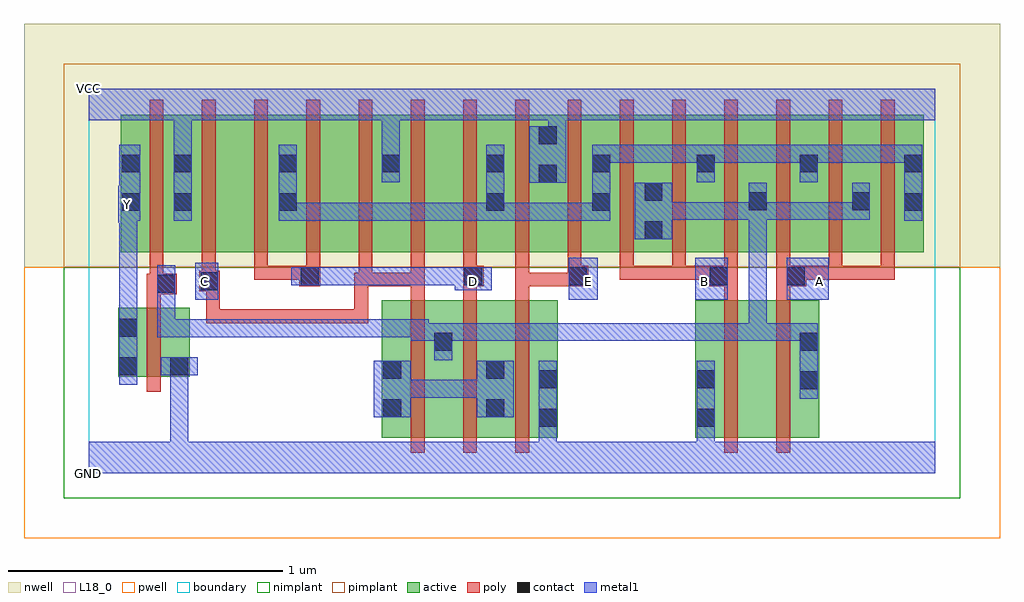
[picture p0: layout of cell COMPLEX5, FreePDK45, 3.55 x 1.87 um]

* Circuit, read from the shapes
.subckt COMPLEX5 A B C D E GND VCC Y
M1 GND n1 Y VSUBS nfet w=0.25u l=0.05u
M2 n1 C n2 VSUBS nfet w=0.5u l=0.05u
M3 n2 D n1 VSUBS nfet w=0.5u l=0.05u
M4 GND E n2 VSUBS nfet w=0.5u l=0.05u
M5 n3 B GND VSUBS nfet w=0.5u l=0.05u
M6 n1 A n3 VSUBS nfet w=0.5u l=0.05u
M7 VCC n1 Y n4 pfet w=0.5u l=0.05u
M8 n5 C VCC n4 pfet w=0.5u l=0.05u
M9 n6 D n5 n4 pfet w=0.5u l=0.05u
M10 n7 D n6 n4 pfet w=0.5u l=0.05u
M11 VCC C n7 n4 pfet w=0.5u l=0.05u
M12 n8 C VCC n4 pfet w=0.5u l=0.05u
M13 n6 D n8 n4 pfet w=0.5u l=0.05u
M14 VCC E n6 n4 pfet w=0.5u l=0.05u m=2
M15 n1 B n6 n4 pfet w=0.5u l=0.05u m=3
M16 n6 A n1 n4 pfet w=0.5u l=0.05u m=3
.ends

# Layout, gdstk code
import gdstk
lib = gdstk.Library(unit=1e-6, precision=1e-09)
def R(c, l, rs):  # rectangles x0, y0, x1, y1
    for r in rs: c.add(gdstk.rectangle(r[:2], r[2:], *l))
def A(c, l, x, y, w, h, nx, ny, dx, dy):  # array of equal rectangles
    R(c, l, [(x+i*dx, y+j*dy, x+i*dx+w, y+j*dy+h) for i in range(nx) for j in range(ny)])
active = (1, 0)
pwell = (2, 0)
nwell = (3, 0)
nimplant = (4, 0)
pimplant = (5, 0)
poly = (9, 0)
contact = (10, 0)
metal1 = (11, 0)
L18_0 = (18, 0)
boundary = (235, 0)

complex5 = lib.new_cell('COMPLEX5')
A(complex5, active, 1.827, 0.805, 0.265, 0.5, 3, 1, 0.19, 0)
R(complex5, active, [(1.067,0.13,1.327,0.63), (1.252,0.13,1.517,0.63), (1.442,0.13,1.707,0.63), (1.632,0.13,1.707,0.63), (2.207,0.13,2.432,0.63), (2.207,0.13,2.282,0.592), (2.432,0.13,2.657,0.63), (1.067,0.195,1.142,0.63), (1.252,0.195,1.327,0.592), (1.442,0.195,1.517,0.592), (2.582,0.195,2.657,0.63), (0.107,0.352,0.182,0.602), (0.107,0.352,0.367,0.602), (0.292,0.352,0.367,0.602), (0.117,0.805,0.192,1.2), (0.117,0.805,0.38,1.305), (0.305,0.805,0.532,1.305), (0.532,0.805,0.762,1.305), (0.687,0.805,0.912,1.305), (0.912,0.805,1.137,1.305), (1.062,0.805,1.292,1.305), (1.292,0.805,1.517,1.305), (1.442,0.805,1.707,1.305), (1.632,0.805,1.902,1.305), (2.017,0.805,2.092,1.07), (2.397,0.805,2.657,1.305), (2.582,0.805,2.847,1.305), (2.772,0.805,3.037,1.305), (2.962,0.805,3.037,1.2), (0.305,0.807,0.38,1.305), (0.687,0.807,0.762,1.2), (1.062,0.807,1.137,1.305), (1.442,0.807,1.517,1.2), (1.632,0.807,1.707,1.305), (1.827,0.807,1.902,1.2), (2.207,0.807,2.282,1.2), (2.397,0.807,2.472,1.07), (2.582,0.807,2.657,1.2), (2.772,0.807,2.847,1.07)])
R(complex5, pwell, [(-0.235,-0.235,3.315,0.75)])
R(complex5, nwell, [(-0.235,0.75,3.315,1.635)])
R(complex5, nimplant, [(-0.09,-0.09,3.17,0.75)])
R(complex5, pimplant, [(-0.09,0.75,3.17,1.49)])
A(complex5, poly, 1.172, 0.075, 0.05, 0.61, 3, 1, 0.19, 0)
A(complex5, poly, 1.172, 0.635, 0.05, 0.095, 3, 1, 0.19, 0)
A(complex5, poly, 1.742, 0.705, 0.05, 0.095, 7, 1, 0.19, 0)
A(complex5, poly, 0.222, 0.75, 0.05, 0.61, 15, 1, 0.19, 0)
R(complex5, poly, [(2.312,0.075,2.362,0.685), (2.502,0.075,2.552,0.685), (0.212,0.297,0.262,0.657), (0.427,0.547,0.477,0.597), (0.427,0.547,0.477,0.597), (0.427,0.547,0.477,0.597), (0.427,0.547,0.477,0.597), (0.427,0.547,0.477,0.597), (0.427,0.547,0.67,0.597), (0.427,0.547,0.477,0.712), (0.62,0.547,0.67,0.597), (0.62,0.547,0.67,0.597), (0.62,0.547,0.67,0.597), (0.62,0.547,0.885,0.597), (0.835,0.547,0.885,0.597), (0.835,0.547,1.017,0.597), (0.967,0.547,1.017,0.597), (0.967,0.547,1.017,0.597), (0.967,0.547,1.017,0.597), (0.967,0.547,1.017,0.597), (0.967,0.547,1.017,0.597), (0.967,0.547,1.017,0.73), (0.212,0.607,0.262,0.702), (2.312,0.635,2.362,0.73), (2.502,0.635,2.552,0.73), (0.212,0.652,0.32,0.727), (0.402,0.662,0.477,0.737), (0.222,0.677,0.272,0.8), (0.767,0.68,0.842,0.755), (0.967,0.68,1.032,0.73), (0.982,0.68,1.222,0.73), (0.982,0.68,1.032,0.8), (1.172,0.68,1.222,0.73), (1.172,0.68,1.222,0.73), (1.172,0.68,1.222,0.73), (1.172,0.68,1.222,0.8), (1.362,0.68,1.437,0.755), (1.552,0.68,1.602,0.73), (1.552,0.68,1.602,0.73), (1.552,0.68,1.602,0.73), (1.552,0.68,1.792,0.73), (1.552,0.68,1.602,0.8), (1.742,0.68,1.817,0.755), (2.255,0.68,2.362,0.755), (2.502,0.68,2.61,0.755), (0.412,0.687,0.462,0.8), (0.602,0.705,0.652,0.8), (0.602,0.705,0.652,0.755), (0.602,0.705,0.817,0.755), (0.767,0.705,0.817,0.755), (0.767,0.705,0.817,0.755), (0.792,0.705,0.842,0.8), (1.362,0.705,1.412,0.8), (1.932,0.705,1.982,0.755), (1.932,0.705,1.982,0.755), (1.932,0.705,1.982,0.755), (1.932,0.705,2.172,0.755), (2.122,0.705,2.172,0.755), (2.122,0.705,2.172,0.755), (2.122,0.705,2.172,0.755), (2.122,0.705,2.305,0.755), (2.56,0.705,2.742,0.755), (2.692,0.705,2.742,0.755), (2.692,0.705,2.742,0.755), (2.692,0.705,2.742,0.755), (2.692,0.705,2.932,0.755), (2.882,0.705,2.932,0.755), (2.882,0.705,2.932,0.755), (2.882,0.705,2.932,0.755)])
R(complex5, contact, [(1.637,0.17,1.702,0.235), (2.212,0.17,2.277,0.235), (1.072,0.205,1.137,0.27), (1.447,0.205,1.512,0.27), (2.587,0.307,2.652,0.372), (1.637,0.31,1.702,0.375), (2.212,0.31,2.277,0.375), (1.072,0.345,1.137,0.41), (1.447,0.345,1.512,0.41), (0.112,0.357,0.177,0.422), (0.297,0.357,0.362,0.422), (1.257,0.447,1.322,0.512), (2.587,0.447,2.652,0.512), (0.112,0.497,0.177,0.562), (0.25,0.657,0.315,0.722), (0.407,0.667,0.472,0.732), (0.772,0.685,0.837,0.75), (1.367,0.685,1.432,0.75), (1.747,0.685,1.812,0.75), (2.26,0.685,2.325,0.75), (2.54,0.685,2.605,0.75), (2.022,0.852,2.087,0.917), (0.122,0.955,0.187,1.02), (0.31,0.955,0.375,1.02), (0.692,0.955,0.757,1.02), (1.447,0.955,1.512,1.02), (1.832,0.955,1.897,1.02), (2.967,0.955,3.032,1.02), (2.402,0.957,2.467,1.022), (2.777,0.957,2.842,1.022), (2.022,0.992,2.087,1.057), (1.637,1.057,1.702,1.122), (0.122,1.095,0.187,1.16), (0.31,1.095,0.375,1.16), (0.692,1.095,0.757,1.16), (1.067,1.095,1.132,1.16), (1.447,1.095,1.512,1.16), (1.832,1.095,1.897,1.16), (2.212,1.095,2.277,1.16), (2.587,1.095,2.652,1.16), (2.967,1.095,3.032,1.16), (1.637,1.197,1.702,1.262)])
R(complex5, metal1, [(0,0,3.08,0.115), (0.297,0.05,0.362,0.115), (0.297,0.05,0.362,0.115), (0.297,0.05,0.362,0.115), (0.297,0.05,0.362,0.115), (0.297,0.05,0.362,0.115), (0.297,0.05,0.362,0.115), (0.297,0.05,0.362,0.422), (1.637,0.05,1.702,0.115), (1.637,0.05,1.702,0.115), (1.637,0.05,1.702,0.2), (2.212,0.05,2.277,0.115), (2.212,0.05,2.277,0.115), (2.212,0.05,2.277,0.2), (1.637,0.135,1.702,0.41), (2.212,0.135,2.277,0.41), (1.037,0.205,1.172,0.41), (1.412,0.205,1.547,0.41), (2.587,0.272,2.652,0.547), (1.107,0.275,1.172,0.34), (1.107,0.275,1.172,0.34), (1.107,0.275,1.34,0.34), (1.275,0.275,1.34,0.34), (1.275,0.275,1.375,0.34), (1.31,0.275,1.375,0.34), (1.31,0.275,1.477,0.34), (0.112,0.322,0.177,0.597), (0.262,0.357,0.397,0.422), (1.257,0.412,1.322,0.547), (1.172,0.482,1.322,0.547), (1.172,0.482,1.237,0.56), (1.257,0.482,1.375,0.547), (1.31,0.482,1.375,0.547), (1.31,0.482,1.512,0.547), (1.447,0.482,1.512,0.547), (1.447,0.482,1.512,0.547), (1.447,0.482,1.512,0.547), (1.447,0.482,1.65,0.547), (1.585,0.482,1.65,0.547), (1.585,0.482,1.65,0.547), (1.585,0.482,1.65,0.547), (1.585,0.482,1.84,0.547), (1.775,0.482,1.84,0.547), (1.775,0.482,1.84,0.547), (1.775,0.482,1.84,0.547), (1.775,0.482,2.097,0.547), (2.032,0.482,2.097,0.547), (2.032,0.482,2.097,0.547), (2.032,0.482,2.097,0.547), (2.032,0.482,2.33,0.547), (2.265,0.482,2.33,0.547), (2.265,0.482,2.33,0.547), (2.265,0.482,2.33,0.547), (2.265,0.482,2.467,0.547), (2.402,0.482,2.467,0.547), (2.402,0.482,2.467,0.547), (2.402,0.482,2.467,0.547), (2.402,0.482,2.652,0.547), (2.402,0.482,2.467,0.987), (2.587,0.482,2.652,0.547), (2.587,0.482,2.652,0.547), (0.25,0.495,0.315,0.56), (0.25,0.495,0.482,0.56), (0.25,0.495,0.315,0.687), (0.417,0.495,0.482,0.56), (0.417,0.495,0.482,0.56), (0.417,0.495,0.482,0.56), (0.417,0.495,0.62,0.56), (0.555,0.495,0.62,0.56), (0.555,0.495,0.62,0.56), (0.555,0.495,0.62,0.56), (0.555,0.495,0.897,0.56), (0.832,0.495,0.897,0.56), (0.832,0.495,0.897,0.56), (0.832,0.495,0.897,0.56), (0.832,0.495,1.035,0.56), (0.97,0.495,1.035,0.56), (0.97,0.495,1.035,0.56), (0.97,0.495,1.035,0.56), (0.97,0.495,1.237,0.56), (0.112,0.532,0.177,0.977), (0.25,0.622,0.315,0.687), (0.25,0.622,0.315,0.687), (0.25,0.622,0.315,0.757), (0.387,0.632,0.472,0.767), (1.747,0.632,1.852,0.785), (2.207,0.632,2.325,0.785), (2.54,0.632,2.692,0.785), (1.332,0.667,1.467,0.75), (0.737,0.685,0.872,0.75), (0.807,0.685,0.895,0.75), (0.83,0.685,0.895,0.75), (0.83,0.685,1.035,0.75), (0.97,0.685,1.035,0.75), (0.97,0.685,1.035,0.75), (0.97,0.685,1.035,0.75), (0.97,0.685,1.237,0.75), (1.172,0.685,1.237,0.75), (1.172,0.685,1.34,0.75), (1.275,0.685,1.34,0.75), (1.275,0.685,1.397,0.75), (1.987,0.852,2.122,1.057), (0.107,0.912,0.177,1.047), (0.112,0.92,0.177,0.985), (0.112,0.92,0.187,1.195), (0.31,0.92,0.375,1.195), (0.692,0.92,0.757,0.985), (0.692,0.92,0.757,0.985), (0.692,0.92,0.757,1.195), (0.692,0.92,0.897,0.985), (0.832,0.92,0.897,0.985), (0.832,0.92,1.035,0.985), (0.97,0.92,1.035,0.985), (0.97,0.92,1.035,0.985), (0.97,0.92,1.035,0.985), (0.97,0.92,1.237,0.985), (1.172,0.92,1.237,0.985), (1.172,0.92,1.31,0.985), (1.245,0.92,1.31,0.985), (1.245,0.92,1.375,0.985), (1.31,0.92,1.375,0.985), (1.31,0.92,1.512,0.985), (1.447,0.92,1.512,0.985), (1.447,0.92,1.512,0.985), (1.447,0.92,1.512,1.195), (1.447,0.92,1.65,0.985), (1.585,0.92,1.65,0.985), (1.585,0.92,1.65,0.985), (1.585,0.92,1.65,0.985), (1.585,0.92,1.897,0.985), (1.832,0.92,1.897,1.195), (2.967,0.92,3.032,1.195), (2.057,0.922,2.122,0.987), (2.057,0.922,2.122,0.987), (2.057,0.922,2.29,0.987), (2.225,0.922,2.29,0.987), (2.225,0.922,2.29,0.987), (2.225,0.922,2.29,0.987), (2.225,0.922,2.467,0.987), (2.402,0.922,2.467,0.987), (2.402,0.922,2.467,0.987), (2.402,0.922,2.467,1.057), (2.402,0.922,2.705,0.987), (2.64,0.922,2.705,0.987), (2.64,0.922,2.842,0.987), (2.777,0.922,2.842,0.987), (2.777,0.922,2.842,0.987), (2.777,0.922,2.842,1.057), (1.602,1.057,1.737,1.262), (1.067,1.06,1.132,1.195), (2.212,1.06,2.277,1.195), (2.587,1.06,2.652,1.195), (0.31,1.13,0.375,1.35), (1.067,1.13,1.132,1.35), (1.832,1.13,1.897,1.195), (1.832,1.13,1.897,1.195), (1.832,1.13,1.897,1.195), (1.832,1.13,1.897,1.195), (1.832,1.13,2.037,1.195), (1.972,1.13,2.037,1.195), (1.972,1.13,2.037,1.195), (1.972,1.13,2.037,1.195), (1.972,1.13,2.277,1.195), (2.212,1.13,2.277,1.195), (2.212,1.13,2.277,1.195), (2.212,1.13,2.515,1.195), (2.45,1.13,2.515,1.195), (2.45,1.13,2.515,1.195), (2.45,1.13,2.515,1.195), (2.45,1.13,2.652,1.195), (2.587,1.13,2.842,1.195), (2.777,1.13,2.842,1.195), (2.777,1.13,2.842,1.195), (2.777,1.13,2.842,1.195), (2.777,1.13,3.032,1.195), (2.967,1.13,3.032,1.195), (2.967,1.13,3.032,1.195), (1.672,1.197,1.737,1.35), (0,1.285,3.08,1.4)])
A(complex5, L18_0, 1.367, 0.667, 0.065, 0.065, 4, 1, 0.42, 0)
R(complex5, L18_0, [(0,0,3.08,0.115), (0.297,0.05,0.362,0.115), (0.297,0.05,0.362,0.115), (0.297,0.05,0.362,0.115), (0.297,0.05,0.362,0.115), (0.297,0.05,0.362,0.115), (0.297,0.05,0.362,0.115), (0.297,0.05,0.362,0.422), (1.637,0.05,1.702,0.115), (1.637,0.05,1.702,0.115), (1.637,0.05,1.702,0.2), (2.212,0.05,2.277,0.115), (2.212,0.05,2.277,0.115), (2.212,0.05,2.277,0.2), (1.637,0.135,1.702,0.41), (2.212,0.135,2.277,0.41), (0.112,0.322,0.177,0.597), (0.262,0.357,0.397,0.422), (0.112,0.532,0.177,0.977), (0.387,0.632,0.472,0.767), (1.747,0.632,1.852,0.785), (2.207,0.632,2.325,0.785), (2.54,0.632,2.692,0.785), (0.387,0.667,0.452,0.732), (1.332,0.667,1.467,0.75), (0.737,0.685,0.872,0.75), (0.807,0.685,0.895,0.75), (0.83,0.685,0.895,0.75), (0.83,0.685,1.035,0.75), (0.97,0.685,1.035,0.75), (0.97,0.685,1.035,0.75), (0.97,0.685,1.035,0.75), (0.97,0.685,1.237,0.75), (1.172,0.685,1.237,0.75), (1.172,0.685,1.34,0.75), (1.275,0.685,1.34,0.75), (1.275,0.685,1.397,0.75), (0.107,0.912,0.177,1.047), (0.112,0.92,0.187,1.195), (0.112,0.92,0.177,0.985), (0.31,0.92,0.375,1.195), (0.107,0.947,0.172,1.012), (1.602,1.057,1.737,1.262), (1.067,1.06,1.132,1.195), (0.31,1.13,0.375,1.35), (1.067,1.13,1.132,1.35), (1.672,1.197,1.737,1.35), (0,1.285,3.08,1.4)])
R(complex5, boundary, [(0,0,3.08,1.4)])
complex5.add(gdstk.Label('A', (2.66,0.7), layer=11, texttype=0))
complex5.add(gdstk.Label('B', (2.24,0.7), layer=11, texttype=0))
complex5.add(gdstk.Label('C', (0.42,0.7), layer=11, texttype=0))
complex5.add(gdstk.Label('D', (1.4,0.7), layer=11, texttype=0))
complex5.add(gdstk.Label('E', (1.82,0.7), layer=11, texttype=0))
complex5.add(gdstk.Label('Y', (0.14,0.98), layer=11, texttype=0))
complex5.add(gdstk.Label('VCC', (0,1.4), layer=11, texttype=0))
complex5.add(gdstk.Label('GND', (0,0), layer=11, texttype=0))

lib.write_gds('COMPLEX5.gds')
